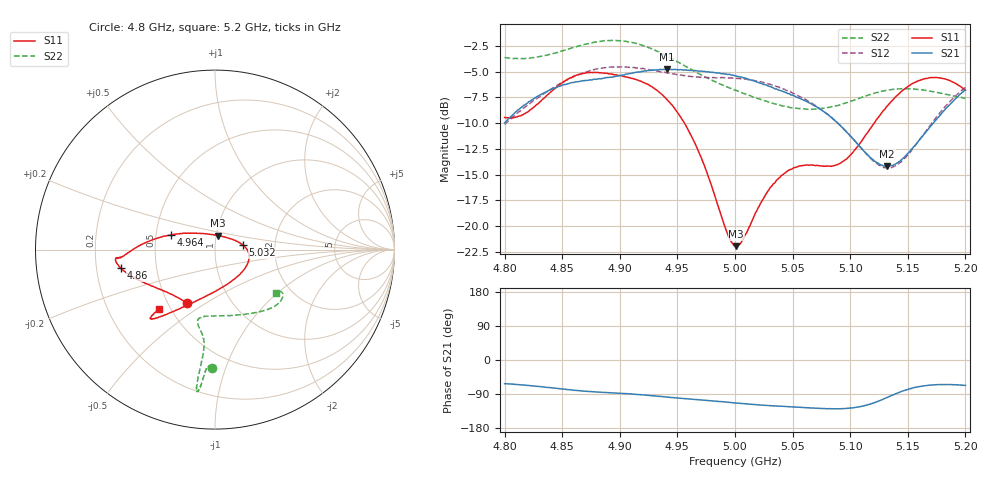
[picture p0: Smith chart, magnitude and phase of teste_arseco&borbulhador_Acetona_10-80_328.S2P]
! Network Analyzer HP8722D
! Hewlett-Packard
! Data name: Linha & Wilkinson
! Saver's name: Rodrigo Anjos
! Comments: Teste da utilização de aquisição
! continua pelo VNA HP8722D
! Time and date: 17/4/2025 17:05
!  Frequency  S11  S21  S12  S22
# HZ  S  MA R 50
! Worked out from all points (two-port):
!   401 points, 4.8 GHz to 5.2 GHz, reference 50 ohm
!   highest |S21| = -4.78 dB at 4.941 GHz (marker M1); lowest = -14.2 dB at 5.132 GHz (marker M2)
!   |S21| within 3 dB of the highest: 4.823 GHz to 5.06 GHz (236.2 MHz wide, 4.78 % of centre); 5.190213 GHz to end of sweep
!   lowest |S11| = -22.0 dB at 5.001 GHz (marker M3), VSWR 1.17, Z = 50.8 + j8.03 ohm
!   |S11| at or under -10 dB: 4.956 GHz to 5.121 GHz (164.9 MHz wide, 3.27 % of centre)
!   |S22| runs from -8.7 to -2.0 dB; largest |S21 - S12| = 0.87
!   S11 on the Smith chart (normalised r, x): 4.8 GHz: 0.62, -0.42; 4.86 GHz: 0.31, -0.09; 4.964 GHz: 0.60, +0.10; 5.032 GHz: 1.36, +0.07; 5.2 GHz: 0.43, -0.36
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4.8e9  0.3369 -117.3  0.3168 -62.5  0.3114 -176.7  0.6578 -91.6
4.818e9  0.3528 -136.4  0.389 -66.6  0.3796 -176.4  0.6517 -93.2
4.86e9  0.5344 -168.8  0.4986 -79.6  0.5325 -179.8  0.7351 -95.5
4.867e9  0.5487 -171.4  0.5074 -81.7  0.5508 178.8  0.756 -95.8
4.9e9  0.5381 -175.2  0.5385 -87.8  0.5911 172.9  0.7938 -97.3
4.934e9  0.4482 179.1  0.5739 -96.0  0.5644 169.7  0.6984 -97.4
4.941e9  0.412 176.1  0.5771 -97.8  0.5551 169.8  0.6699 -97.2
4.964e9  0.261 161.8  0.5682 -103.9  0.5315 171.6  0.5673 -96.5
4.993e9  0.09319 112.1  0.5463 -111.2  0.5241 173.9  0.474 -98.8
5e9  0.08043 84.1  0.5369 -113.3  0.5233 174.0  0.4564 -100.0
5.001e9  0.07981 79.7  0.5349 -113.3  0.5217 174.0  0.4559 -100.3
5.006e9  0.08443 59.8  0.529 -114.8  0.5204 173.9  0.444 -101.4
5.032e9  0.1566 9.7  0.4719 -120.8  0.4845 172.8  0.3947 -103.2
5.047e9  0.1871 -4.5  0.4398 -123.2  0.4508 172.3  0.3785 -99.3
5.067e9  0.1978 -25.7  0.3896 -126.6  0.3944 171.9  0.3692 -88.0
5.095e9  0.208 -74.0  0.293 -128.2  0.2944 174.6  0.3938 -66.4
5.119e9  0.3059 -110.2  0.2117 -114.7  0.2095 -170.0  0.4384 -50.4
5.132e9  0.382 -120.7  0.195 -98.9  0.1916 -152.3  0.4553 -44.1
5.134e9  0.3932 -121.9  0.1955 -96.2  0.1915 -149.3  0.4584 -43.3
5.148e9  0.4669 -128.1  0.219 -79.3  0.2148 -129.6  0.4647 -38.2
5.168e9  0.5238 -132.4  0.2968 -66.9  0.3007 -113.1  0.4525 -33.6
5.2e9  0.4563 -133.4  0.4586 -67.1  0.4714 -109.2  0.4167 -35.1
